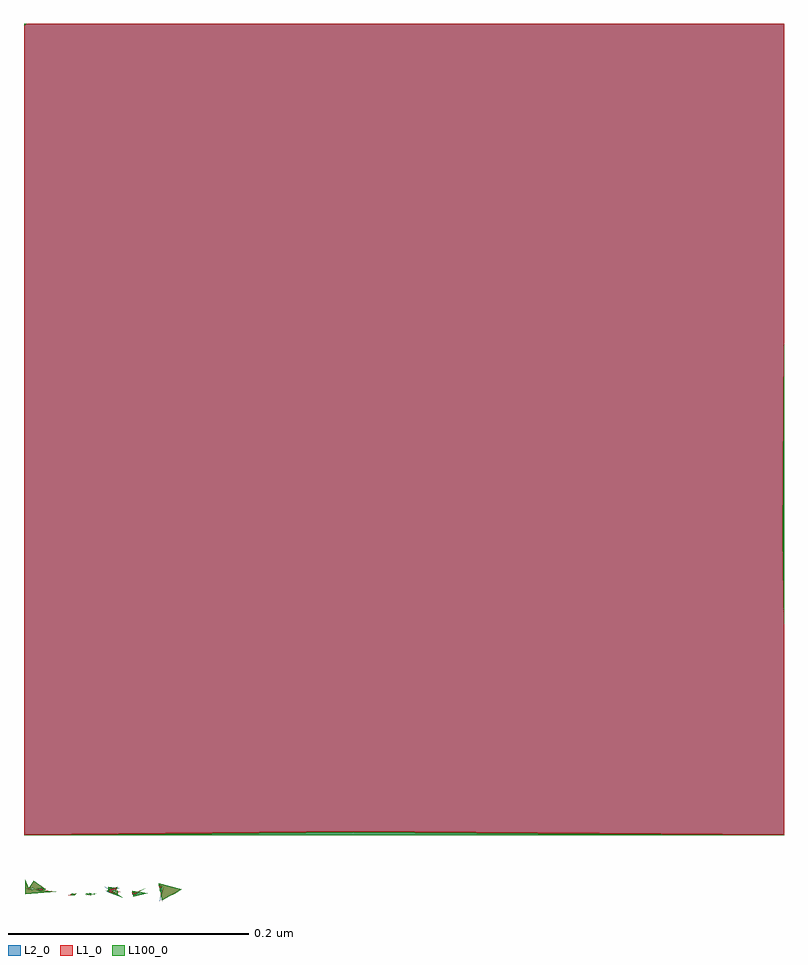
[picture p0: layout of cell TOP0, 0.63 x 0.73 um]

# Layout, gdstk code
import gdstk
lib = gdstk.Library(unit=1e-6, precision=1e-09)
def R(c, l, rs):  # rectangles x0, y0, x1, y1
    for r in rs: c.add(gdstk.rectangle(r[:2], r[2:], *l))
def P(c, l, *ps):  # polygons
    for p in ps: c.add(gdstk.Polygon(p, *l))
L1_0 = (1, 0)
L2_0 = (2, 0)
L100_0 = (100, 0)

top0 = lib.new_cell('TOP0')
P(top0, L1_0, [(0.063,0.009),(0.071,0.011),(0.07,0.01)],
  [(0.089,0.01),(0.079,0.013),(0.091,0.012),(0.086,0.011),(0.089,0.016),(0.08,0.013),(0.089,0.013)],
  [(0.126,0.004),(0.123,0.019),(0.142,0.014),(0.126,0.005),(0.125,0.009),(0.127,0.016),(0.124,0.015)],
  [(0.101,0.01),(0.112,0.015),(0.103,0.01),(0.101,0.012)],
  [(0.011,0.059),(0.011,0.732),(0.013,0.734),(0.643,0.734),(0.643,0.467),(0.642,0.307),(0.643,0.235),(0.643,0.059),(0.285,0.062)],
  [(0.048,0.009),(0.055,0.011),(0.053,0.009)],
  [(0.012,0.01),(0.012,0.022),(0.015,0.014),(0.019,0.021),(0.029,0.014),(0.028,0.013),(0.017,0.015),(0.017,0.014),(0.021,0.014),(0.038,0.012)])
R(top0, L2_0, [(0.011,0.059,0.643,0.734)])
P(top0, L2_0, [(0.018,0.013),(0.018,0.014),(0.027,0.015),(0.026,0.013),(0.013,0.015)],
  [(0.067,0.009),(0.062,0.01),(0.063,0.011),(0.067,0.009),(0.067,0.011),(0.065,0.011)],
  [(0.102,0.008),(0.101,0.013),(0.114,0.011)],
  [(0.124,0.004),(0.125,0.011),(0.123,0.017),(0.126,0.016)],
  [(0.05,0.009),(0.051,0.011),(0.054,0.01)],
  [(0.093,0.007),(0.078,0.016),(0.081,0.014),(0.081,0.016),(0.09,0.015),(0.08,0.012)])
R(top0, L100_0, [(0.087,0.012,0.089,0.013)])
P(top0, L100_0, [(0.012,0.01),(0.012,0.012),(0.038,0.012)],
  [(0.011,0.732),(0.011,0.734),(0.013,0.734)],
  [(0.093,0.007),(0.086,0.01),(0.089,0.01)],
  [(0.065,0.009),(0.062,0.01),(0.066,0.01)],
  [(0.126,0.014),(0.127,0.016),(0.134,0.016),(0.142,0.014)],
  [(0.085,0.012),(0.084,0.013),(0.087,0.012)],
  [(0.026,0.013),(0.027,0.014),(0.029,0.014),(0.028,0.013)],
  [(0.012,0.012),(0.012,0.013),(0.028,0.013),(0.038,0.012)],
  [(0.106,0.012),(0.112,0.015),(0.107,0.012)],
  [(0.018,0.013),(0.018,0.014),(0.021,0.014),(0.025,0.013)],
  [(0.012,0.014),(0.012,0.015),(0.013,0.015),(0.015,0.014)],
  [(0.125,0.011),(0.124,0.013),(0.125,0.013)],
  [(0.015,0.015),(0.019,0.021),(0.028,0.015)],
  [(0.124,0.013),(0.124,0.015),(0.126,0.015),(0.125,0.013)],
  [(0.027,0.014),(0.027,0.015),(0.028,0.015),(0.029,0.014)],
  [(0.126,0.016),(0.123,0.017),(0.131,0.017),(0.134,0.016)],
  [(0.103,0.01),(0.105,0.011),(0.114,0.011),(0.11,0.01)],
  [(0.081,0.014),(0.081,0.015),(0.087,0.015),(0.082,0.014)],
  [(0.012,0.015),(0.012,0.022),(0.015,0.015)],
  [(0.101,0.012),(0.101,0.013),(0.106,0.012)],
  [(0.066,0.009),(0.067,0.01),(0.067,0.009)],
  [(0.086,0.01),(0.083,0.011),(0.089,0.011),(0.089,0.01)],
  [(0.081,0.012),(0.08,0.013),(0.082,0.013)],
  [(0.125,0.008),(0.125,0.011),(0.137,0.011),(0.131,0.008)],
  [(0.066,0.01),(0.065,0.011),(0.067,0.011),(0.067,0.01)],
  [(0.067,0.01),(0.071,0.011),(0.07,0.01)],
  [(0.084,0.013),(0.088,0.014),(0.087,0.013)],
  [(0.05,0.009),(0.053,0.01),(0.054,0.01),(0.053,0.009)],
  [(0.05,0.01),(0.051,0.011),(0.053,0.01)],
  [(0.083,0.011),(0.081,0.012),(0.086,0.011)],
  [(0.081,0.015),(0.081,0.016),(0.087,0.015)],
  [(0.017,0.014),(0.015,0.015),(0.017,0.015)],
  [(0.011,0.059),(0.285,0.062),(0.643,0.059)],
  [(0.053,0.01),(0.055,0.011),(0.054,0.01)],
  [(0.087,0.015),(0.089,0.016),(0.088,0.015)],
  [(0.643,0.235),(0.642,0.307),(0.643,0.307)],
  [(0.642,0.307),(0.643,0.467),(0.643,0.307)],
  [(0.062,0.01),(0.063,0.011),(0.066,0.01)],
  [(0.021,0.014),(0.017,0.015),(0.027,0.015)],
  [(0.123,0.017),(0.123,0.019),(0.131,0.017)],
  [(0.102,0.008),(0.102,0.01),(0.11,0.01)],
  [(0.126,0.005),(0.125,0.008),(0.131,0.008)],
  [(0.105,0.011),(0.106,0.012),(0.107,0.012),(0.114,0.011)],
  [(0.086,0.011),(0.085,0.012),(0.089,0.012),(0.089,0.011)],
  [(0.125,0.011),(0.126,0.014),(0.142,0.014),(0.137,0.011)],
  [(0.012,0.013),(0.012,0.014),(0.017,0.014),(0.018,0.013)],
  [(0.08,0.013),(0.082,0.014),(0.082,0.013)],
  [(0.124,0.015),(0.126,0.016),(0.126,0.015)],
  [(0.102,0.011),(0.101,0.012),(0.106,0.012)])

lib.write_gds('TOP0.gds')
